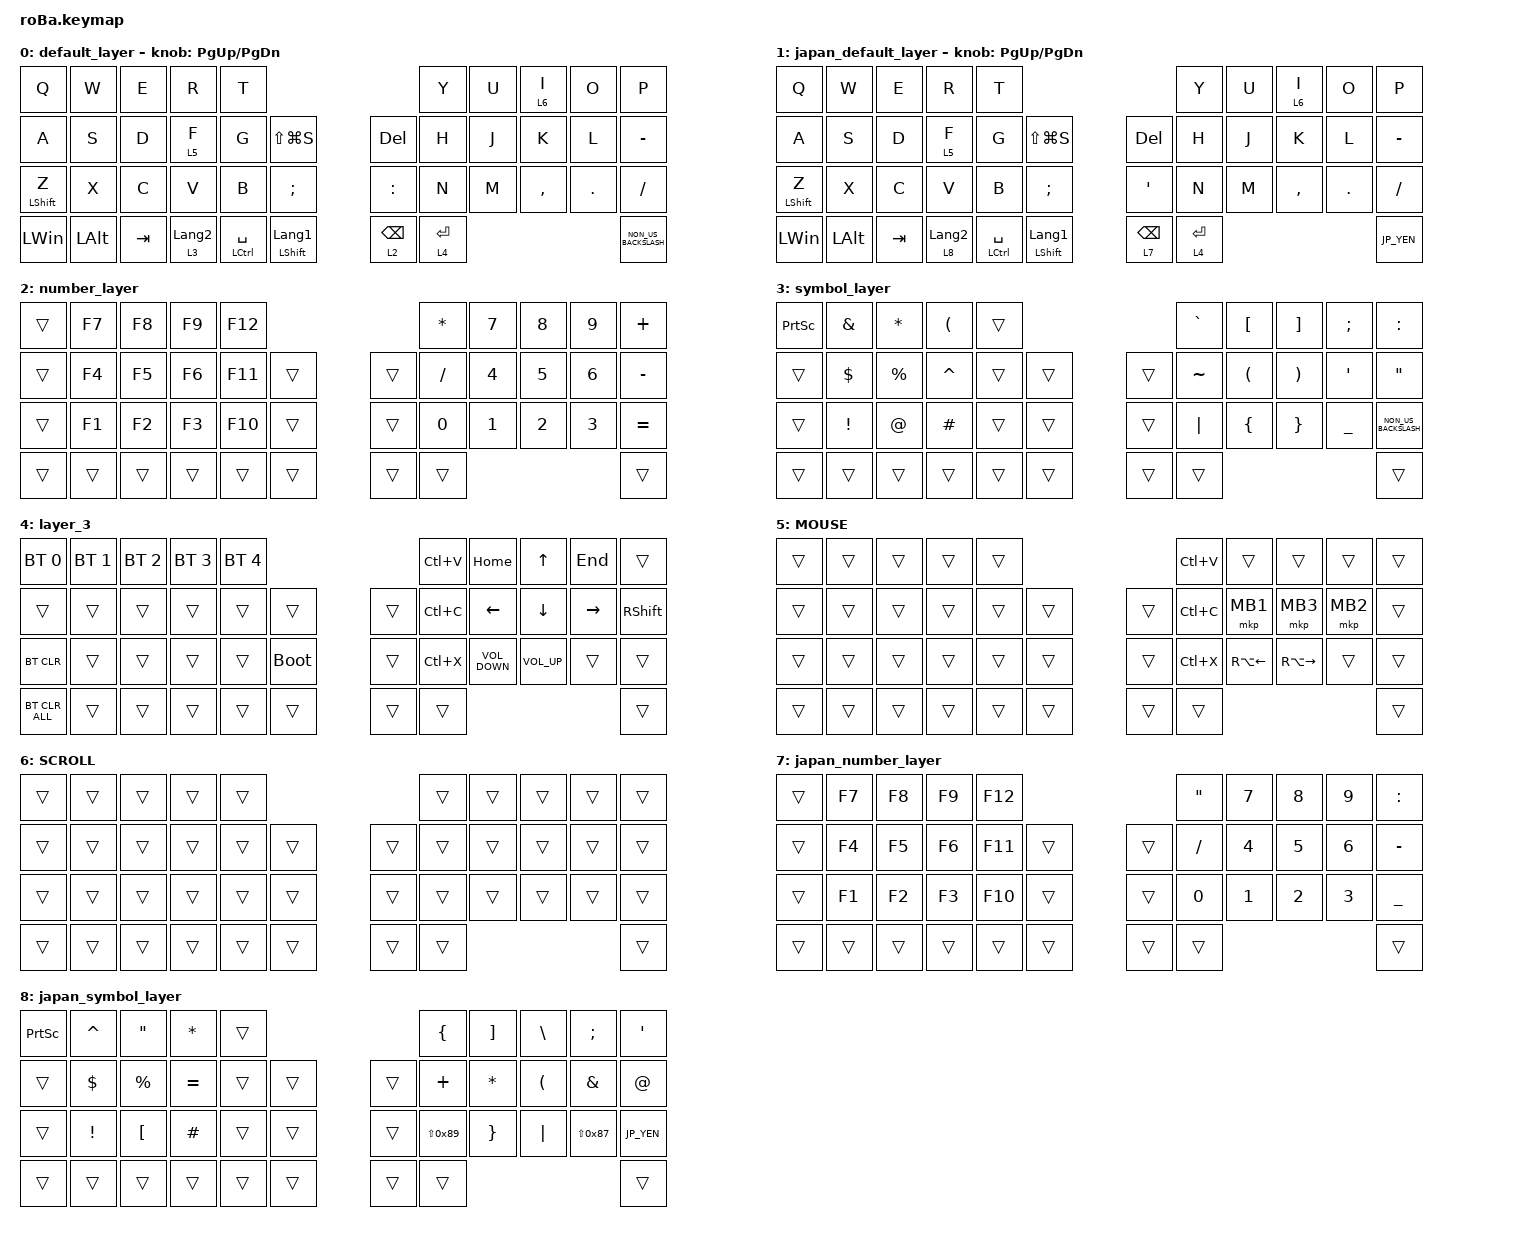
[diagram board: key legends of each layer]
#include <behaviors.dtsi>
#include <dt-bindings/zmk/bt.h>
#include <dt-bindings/zmk/keys.h>
#include <dt-bindings/zmk/pointing.h>

// OS設定を日本語キーボードのまま使用するための変換定義
#define JP_DQUOTE       AT                // "
#define JP_AMPERSAND    CARET             // &
#define JP_QUOTE        AMPERSAND         // '
#define JP_EQUAL        UNDER             // =
#define JP_CARET        EQUAL             // ^
#define JP_YEN          0x89              // ¥
#define JP_PLUS         COLON             // +
#define JP_TILDE        PLUS              // ~
#define JP_PIPE         LS(0x89)          // |
#define JP_AT           LEFT_BRACKET      // @
#define JP_COLON        SINGLE_QUOTE      // :
#define JP_ASTERISK     DOUBLE_QUOTES     // *
#define JP_BACKQUOTE    LEFT_BRACE        // `
#define JP_UNDERSCORE   LS(0x87)          // _
#define JP_LBRACKET     RIGHT_BRACKET     // [
#define JP_RBRACKET     BACKSLASH         // ]
#define JP_LPAREN       ASTERISK          // (
#define JP_RPAREN       LEFT_PARENTHESIS  // )
#define JP_LBRACE       RIGHT_BRACE       // {
#define JP_RBRACE       PIPE              // }
#define JP_KANA         LANGUAGE_1        // かな
#define JP_EISU         LANGUAGE_2        // 英数
#define JP_HANZEN       GRAVE             // 半角/全角

&mt {
    flavor = "balanced";
    quick-tap-ms = <0>;
};

&trackball {
    // automouse-layer = <4>;
    scroll-layers = <6>;

    // arrows {
    //     layers = <3>;
    //     bindings =
    //         <&kp RIGHT_ARROW>,
    //         <&kp LEFT_ARROW>,
    //         <&kp UP_ARROW>,
    //         <&kp DOWN_ARROW>;
    //     tick = <10>;
    //     wait-ms = <5>;
    //     tap-ms = <5>;
    // };
};

/ {
    combos {
        compatible = "zmk,combos";

        tab {
            bindings = <&kp TAB>;
            key-positions = <11 12>;
        };

        Esc {
            bindings = <&kp ESCAPE>;
            key-positions = <2 1>;
        };

        to_japan_layer {
            bindings = <&to 1>;
            key-positions = <9 42>;
        };

        to_us_layer {
            bindings = <&to 0>;
            key-positions = <0 34>;
        };
    };

    macros {
        to_layer_0: to_layer_0 {
            compatible = "zmk,behavior-macro-one-param";
            #binding-cells = <1>;
            bindings = <&to 0 &macro_param_1to1 &kp MACRO_PLACEHOLDER>;
            label = "TO_LAYER_0";
        };
    };

    keymap {
        compatible = "zmk,keymap";

        default_layer {
            bindings = <
&kp Q             &kp W         &kp E    &kp R             &kp T                                                                 &kp Y        &kp U  &lt 6 I    &kp O    &kp P
&kp A             &kp S         &kp D    &lt 5 F           &kp G                   &kp LS(LG(S))                &kp DELETE       &kp H        &kp J  &kp K      &kp L    &kp MINUS
&mt LEFT_SHIFT Z  &kp X         &kp C    &kp V             &kp B                   &kp SEMICOLON                &kp COLON        &kp N        &kp M  &kp COMMA  &kp DOT  &kp SLASH
&kp LEFT_WIN      &kp LEFT_ALT  &kp TAB  &lt 3 LANGUAGE_2  &mt LEFT_CONTROL SPACE  &mt LEFT_SHIFT LANGUAGE_1    &lt 2 BACKSPACE  &lt 4 ENTER                             &kp NON_US_BACKSLASH
            >;

            sensor-bindings = <&inc_dec_kp PG_UP PAGE_DOWN>;
        };

        japan_default_layer {
            bindings = <
&kp Q             &kp W         &kp E    &kp R             &kp T                                                                 &kp Y        &kp U  &lt 6 I    &kp O    &kp P
&kp A             &kp S         &kp D    &lt 5 F           &kp G                   &kp LS(LG(S))                &kp DELETE       &kp H        &kp J  &kp K      &kp L    &kp MINUS
&mt LEFT_SHIFT Z  &kp X         &kp C    &kp V             &kp B                   &kp SEMICOLON                &kp JP_COLON        &kp N        &kp M  &kp COMMA  &kp DOT  &kp SLASH
&kp LEFT_WIN      &kp LEFT_ALT  &kp TAB  &lt 8 LANGUAGE_2  &mt LEFT_CONTROL SPACE  &mt LEFT_SHIFT LANGUAGE_1    &lt 7 BACKSPACE  &lt 4 ENTER                             &kp JP_YEN
            >;

            sensor-bindings = <&inc_dec_kp PG_UP PAGE_DOWN>;
        };

        number_layer {
            bindings = <
&trans  &kp F7  &kp F8  &kp F9  &kp F12                    &kp ASTERISK  &kp NUMBER_7  &kp NUMBER_8  &kp NUMBER_9  &kp PLUS
&trans  &kp F4  &kp F5  &kp F6  &kp F11  &trans    &trans  &kp SLASH     &kp NUMBER_4  &kp N5        &kp NUMBER_6  &kp MINUS
&trans  &kp F1  &kp F2  &kp F3  &kp F10  &trans    &trans  &kp N0        &kp NUMBER_1  &kp NUMBER_2  &kp NUMBER_3  &kp EQUAL
&trans  &trans  &trans  &trans  &trans   &trans    &trans  &trans                                                  &trans
            >;
        };

        symbol_layer {
            bindings = <
&kp PRINTSCREEN  &kp AMPERSAND    &kp ASTERISK  &kp LEFT_PARENTHESIS  &trans                    &kp GRAVE  &kp LEFT_BRACKET      &kp RIGHT_BRACKET      &kp SEMICOLON   &kp COLON
&trans           &kp DOLLAR       &kp PERCENT   &kp CARET             &trans  &trans    &trans  &kp TILDE  &kp LEFT_PARENTHESIS  &kp RIGHT_PARENTHESIS  &kp SQT         &kp DOUBLE_QUOTES
&trans           &kp EXCLAMATION  &kp AT_SIGN   &kp HASH              &trans  &trans    &trans  &kp PIPE   &kp LEFT_BRACE        &kp RIGHT_BRACE        &kp UNDERSCORE  &kp NON_US_BACKSLASH
&trans           &trans           &trans        &trans                &trans  &trans    &trans  &trans                                                                  &trans
            >;
        };

        layer_3 {
            bindings = <
&bt BT_SEL 0    &bt BT_SEL 1  &bt BT_SEL 2  &bt BT_SEL 3  &bt BT_SEL 4                         &kp LC(V)  &kp HOME           &kp UP_ARROW     &kp END          &trans
&trans          &trans        &trans        &trans        &trans        &trans         &trans  &kp LC(C)  &kp LEFT_ARROW     &kp DOWN_ARROW   &kp RIGHT_ARROW  &kp RIGHT_SHIFT
&bt BT_CLR      &trans        &trans        &trans        &trans        &bootloader    &trans  &kp LC(X)  &kp C_VOLUME_DOWN  &kp C_VOLUME_UP  &trans           &trans
&bt BT_CLR_ALL  &trans        &trans        &trans        &trans        &trans         &trans  &trans                                                          &trans
            >;
        };

        MOUSE {
            bindings = <
&trans  &trans  &trans  &trans  &trans                    &kp LC(V)  &trans              &trans               &trans    &trans
&trans  &trans  &trans  &trans  &trans  &trans    &trans  &kp LC(C)  &mkp MB1            &mkp MB3             &mkp MB2  &trans
&trans  &trans  &trans  &trans  &trans  &trans    &trans  &kp LC(X)  &kp RA(LEFT_ARROW)  &kp RA(RIGHT_ARROW)  &trans    &trans
&trans  &trans  &trans  &trans  &trans  &trans    &trans  &trans                                                        &trans
            >;
        };

        SCROLL {
            bindings = <
&trans  &trans  &trans  &trans  &trans                    &trans  &trans  &trans  &trans  &trans
&trans  &trans  &trans  &trans  &trans  &trans    &trans  &trans  &trans  &trans  &trans  &trans
&trans  &trans  &trans  &trans  &trans  &trans    &trans  &trans  &trans  &trans  &trans  &trans
&trans  &trans  &trans  &trans  &trans  &trans    &trans  &trans                          &trans
            >;
        };

        japan_number_layer {
            bindings = <
&trans  &kp F7  &kp F8  &kp F9  &kp F12                    &kp JP_ASTERISK  &kp NUMBER_7  &kp NUMBER_8  &kp NUMBER_9  &kp JP_PLUS
&trans  &kp F4  &kp F5  &kp F6  &kp F11  &trans    &trans  &kp SLASH        &kp NUMBER_4  &kp N5        &kp NUMBER_6  &kp MINUS
&trans  &kp F1  &kp F2  &kp F3  &kp F10  &trans    &trans  &kp N0           &kp NUMBER_1  &kp NUMBER_2  &kp NUMBER_3  &kp JP_EQUAL
&trans  &trans  &trans  &trans  &trans   &trans    &trans  &trans                                                     &trans
            >;
        };

        japan_symbol_layer {
            bindings = <
&kp PRINTSCREEN  &kp JP_AMPERSAND    &kp JP_ASTERISK  &kp JP_LPAREN  &trans                    &kp JP_BACKQUOTE  &kp JP_LBRACKET      &kp JP_RBRACKET      &kp SEMICOLON      &kp JP_COLON
&trans           &kp DOLLAR          &kp PERCENT      &kp JP_CARET   &trans  &trans    &trans  &kp JP_TILDE      &kp JP_LPAREN        &kp JP_RPAREN        &kp JP_QUOTE       &kp JP_DQUOTE
&trans           &kp EXCLAMATION     &kp JP_AT        &kp HASH       &trans  &trans    &trans  &kp JP_PIPE       &kp JP_LBRACE        &kp JP_RBRACE        &kp JP_UNDERSCORE  &kp JP_YEN
&trans           &trans              &trans           &trans         &trans  &trans    &trans  &trans                                                                         &trans
            >;
        };
    };
};
